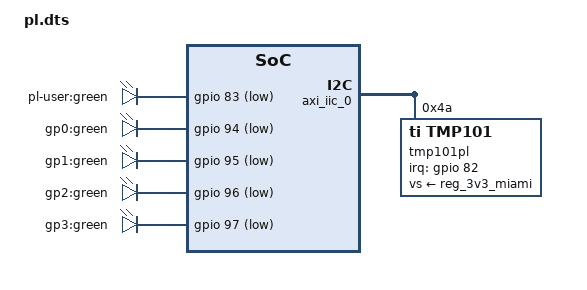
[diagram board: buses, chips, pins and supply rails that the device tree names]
/* Overlay devicetree for the programmable logic part */
/dts-v1/;
/plugin/;

#include <dt-bindings/clock/xlnx-zynqmp-clk.h>
#include <dt-bindings/gpio/gpio.h>
#include <dt-bindings/input/input.h>
#include <dt-bindings/interrupt-controller/irq.h>

/ {
	/* This fragment causes the FPGA image to load */
	fragment@0 {
		target = <&fpga_full>;
		__overlay__ {
			firmware-name = "fpga.bin.fpga-image-tdp-reference";
		};
	};

	/* User LEDs */
	fragment@1 {
		target-path = "/";
		__overlay__ {
			leds-pl {
				compatible = "gpio-leds";
				user_led_1 {
					label = "pl-user:green";
					gpios = <&gpio 83 GPIO_ACTIVE_LOW>; /* EMIO 5 */
					linux,default-trigger = "mmc0"; /* Blink on eMMC activity */
				};
				gp-led-0 {
					label = "gp0:green";
					gpios = <&gpio 94 GPIO_ACTIVE_LOW>; /* EMIO 16 */
					linux,default-trigger = "disk-activity"; /* Blink when NVME disk is working */
				};
				gp-led-1 {
					label = "gp1:green";
					gpios = <&gpio 95 GPIO_ACTIVE_LOW>; /* EMIO 17 */
					linux,default-trigger = "mmc1";
				};
				gp-led-2 {
					label = "gp2:green";
					gpios = <&gpio 96 GPIO_ACTIVE_LOW>; /* EMIO 18 */
					linux,default-trigger = "mtd";
				};
				gp-led-3 {
					label = "gp3:green";
					gpios = <&gpio 97 GPIO_ACTIVE_LOW>; /* EMIO 19 */
					linux,default-trigger = "bluetooth-power";
				};
			};
		};
	};

	fragment@2 {
		target = <&amba>;
		__overlay__ {
			#address-cells = <2>;
			#size-cells = <2>;
			interrupt-parent = <&gic>;

			 /* temperature sensor on i2c Uses lm75 hwmon driver */
			axi_iic_0: i2c@80009000 {
				#address-cells = <1>;
				#size-cells = <0>;
				clock-names = "s_axi_aclk";
				clocks = <&zynqmp_clk PL0_REF>;
				compatible = "xlnx,axi-iic-2.0", "xlnx,xps-iic-2.00.a";
				interrupt-names = "iic2intc_irpt";
				interrupt-parent = <&gic>;
				interrupts = <0 89 4>;
				reg = <0x0 0x80009000 0x0 0x1000>;

				tmp101pl: sensor@4a{
					compatible = "ti,tmp101";
					reg = <0x4a>;
					vs-supply = <&reg_3v3_miami>;
					/* Interrupt not actually used by driver */
					interrupt-parent = <&gpio>;
					interrupts = <82 IRQ_TYPE_LEVEL_LOW>; /* EMIO 4 */
				};
			};

			pl_fan_controller: fan-controller@8000a000 {
				compatible = "topic,axi-pwm-fan-controller";
				reg = <0x0 0x8000a000 0x0 0x1000>;
				nr-fans = <1>;
				clocks = <&zynqmp_clk PL0_REF>;
				topic,initial-pwm = <100>; /* Run at 40% */
				/* Interrupt connected but not actually used in driver */
				interrupt-parent = <&gpio>;
				interrupts = <90 IRQ_TYPE_EDGE_BOTH>; /* EMIO 12 */
			};

			/* GPIO controllers */
			axi_gpio_pmod: gpio@80030000 {
				#gpio-cells = <2>;
				clock-names = "s_axi_aclk";
				clocks = <&zynqmp_clk PL0_REF>;
				compatible = "xlnx,axi-gpio-2.0", "xlnx,xps-gpio-1.00.a";
				gpio-controller ;
				reg = <0x0 0x80030000 0x0 0x10000>;
				xlnx,all-inputs = <0x0>;
				xlnx,all-inputs-2 = <0x0>;
				xlnx,all-outputs = <0x0>;
				xlnx,all-outputs-2 = <0x0>;
				xlnx,dout-default = <0x00000000>;
				xlnx,dout-default-2 = <0x00000000>;
				xlnx,gpio-width = <0x8>;
				xlnx,gpio2-width = <0x8>;
				xlnx,interrupt-present = <0x0>;
				xlnx,is-dual = <0x1>;
				xlnx,tri-default = <0xFFFFFFFF>;
				xlnx,tri-default-2 = <0xFFFFFFFF>;
			};
		};
	};
};
